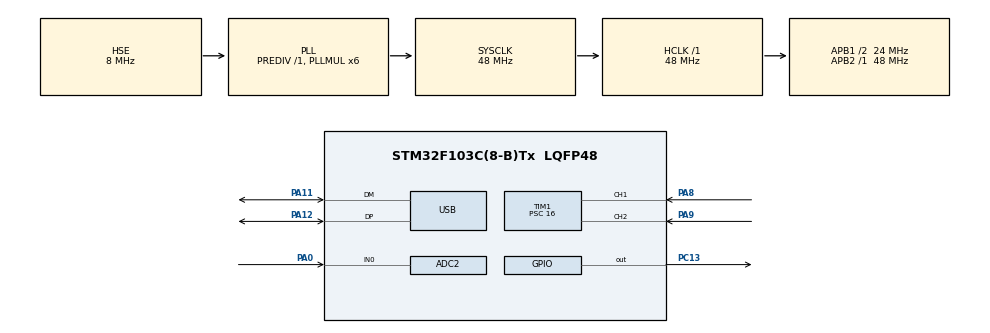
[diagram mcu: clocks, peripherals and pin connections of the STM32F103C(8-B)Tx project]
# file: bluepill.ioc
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ADC2.Channel-2\#ChannelRegularConversion=ADC_CHANNEL_0
ADC2.ContinuousConvMode=ENABLE
ADC2.NbrOfConversion=1
ADC2.NbrOfConversionFlag=1
ADC2.Rank-2\#ChannelRegularConversion=1
ADC2.SamplingTime-2\#ChannelRegularConversion=ADC_SAMPLETIME_1CYCLE_5
Mcu.Family=STM32F1
Mcu.Name=STM32F103C(8-B)Tx
Mcu.Package=LQFP48
NVIC.PriorityGroup=NVIC_PRIORITYGROUP_4
NVIC.USB_LP_CAN1_RX0_IRQn=true\:0\:0\:false\:false\:true\:false\:true
PA0-WKUP.Signal=ADCx_IN0
PA11.Mode=Device
PA11.Signal=USB_DM
PA12.Mode=Device
PA12.Signal=USB_DP
PA8.Signal=S_TIM1_CH1
PA9.Signal=S_TIM1_CH2
PC13-TAMPER-RTC.GPIO_ModeDefaultOutputPP=GPIO_MODE_OUTPUT_PP
PC13-TAMPER-RTC.GPIO_PuPd=GPIO_NOPULL
PC13-TAMPER-RTC.GPIO_Speed=GPIO_SPEED_FREQ_LOW
PC13-TAMPER-RTC.PinState=GPIO_PIN_RESET
PC13-TAMPER-RTC.Signal=GPIO_Output
PC14-OSC32_IN.Mode=LSE-External-Oscillator
PC14-OSC32_IN.Signal=RCC_OSC32_IN
PC15-OSC32_OUT.Mode=LSE-External-Oscillator
PC15-OSC32_OUT.Signal=RCC_OSC32_OUT
PD0-OSC_IN.Mode=HSE-External-Oscillator
PD0-OSC_IN.Signal=RCC_OSC_IN
PD1-OSC_OUT.Mode=HSE-External-Oscillator
PD1-OSC_OUT.Signal=RCC_OSC_OUT
ProjectManager.HeapSize=0x200
ProjectManager.StackSize=0x400
ProjectManager.TargetToolchain=Other Toolchains (GPDSC)
RCC.ADCPresc=RCC_ADCPCLK2_DIV4
RCC.AHBFreq_Value=48000000
RCC.APB1CLKDivider=RCC_HCLK_DIV2
RCC.APB1Freq_Value=24000000
RCC.APB1TimFreq_Value=48000000
RCC.APB2Freq_Value=48000000
RCC.APB2TimFreq_Value=48000000
RCC.HCLKFreq_Value=48000000
RCC.PLLMUL=RCC_PLL_MUL6
RCC.PLLSourceVirtual=RCC_PLLSOURCE_HSE
RCC.RTCClockSelection=RCC_RTCCLKSOURCE_LSE
RCC.SYSCLKFreq_VALUE=48000000
RCC.SYSCLKSource=RCC_SYSCLKSOURCE_PLLCLK
RCC.USBFreq_Value=48000000
SH.ADCx_IN0.0=ADC2_IN0,IN0
SH.S_TIM1_CH1.0=TIM1_CH1,Encoder_Interface
SH.S_TIM1_CH2.0=TIM1_CH2,Encoder_Interface
TIM1.EncoderMode=TIM_ENCODERMODE_TI12
TIM1.Period=65535
TIM1.Prescaler=16
USB_DEVICE.CLASS_NAME_FS=CDC
USB_DEVICE.VirtualMode=Cdc
USB_DEVICE.VirtualModeFS=Cdc_FS
VP_RTC_No_RTC_Output.Mode=RTC_OUT_NO
VP_RTC_VS_RTC_Activate.Mode=RTC_Enabled
VP_RTC_VS_RTC_Calendar.Mode=RTC_Calendar
VP_SYS_VS_ND.Mode=No_Debug
VP_USB_DEVICE_VS_USB_DEVICE_CDC_FS.Mode=CDC_FS
board=custom

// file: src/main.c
/* USER CODE BEGIN Header */
/**
  ******************************************************************************
  * @file           : main.c
  * @brief          : Main program body
  ******************************************************************************
  * @attention
  *
  * <h2><center>&copy; Copyright (c) 2020 STMicroelectronics.
  * All rights reserved.</center></h2>
  *
  * This software component is licensed by ST under Ultimate Liberty license
  * SLA0044, the "License"; You may not use this file except in compliance with
  * the License. You may obtain a copy of the License at:
  *                             www.st.com/SLA0044
  *
  ******************************************************************************
  */
/* USER CODE END Header */

#include "main.h"
#include "adc.h"
#include "tim.h"
#include "rtc.h"
#include "usb_device.h"
#include "usbd_cdc_if.h"
#include "gpio.h"

void SystemClock_Config(void);
/* USER CODE BEGIN PFP */

int16_t get_encoder_value( void )
{
  uint16_t enc_buff = TIM1->CNT;

  if( enc_buff > 32767 ){
    return (int16_t)enc_buff * -1;
  } else {
    return (int16_t)enc_buff;
  }
}

void reset_encoder_count( void )
{
  TIM1->CNT = 0;
}

int16_t count_encoder( void )
{
  int16_t count = get_encoder_value();
  reset_encoder_count();
  return count;
}

/* USER CODE END PFP */

int main(void)
{
  /* USER CODE BEGIN 1 */
  char usr_buf[1000];
  sprintf(usr_buf, "Hello World\n\r");

  int16_t count = 0;

  /* USER CODE END 1 */

  /* MCU Configuration--------------------------------------------------------*/

  /* Reset of all peripherals, Initializes the Flash interface and the Systick. */
  HAL_Init();

  /* Configure the system clock */
  SystemClock_Config();

  /* Initialize all configured peripherals */
  MX_GPIO_Init();
  MX_RTC_Init();
  MX_ADC2_Init();
  MX_USB_DEVICE_Init();
  MX_TIM1_Init();
  /* USER CODE BEGIN 2 */

  uint16_t uhADCxConvertedValue = 0;

  // Turn on LED
  HAL_GPIO_WritePin(GPIOA, GPIO_PIN_8, GPIO_PIN_SET);

  // Start ADC
  if (HAL_ADC_Start(&hadc2) != HAL_OK)
  {
    /* Start Conversation Error */
    Error_Handler();
  }

  // Start Encoder
  HAL_TIM_Encoder_Start( &htim1, TIM_CHANNEL_ALL ); // encoder start

  /* USER CODE END 2 */

  /* Infinite loop */
  /* USER CODE BEGIN WHILE */
  while (1)
  {
    HAL_GPIO_TogglePin(GPIOC, GPIO_PIN_13);

    // ADC
    HAL_StatusTypeDef status = HAL_ADC_PollForConversion(&hadc2, 1000);
    if (status != HAL_OK)
    {
      // sprintf(usr_buf, "Error: %d\n\r", status);
      CDC_Transmit_FS((uint8_t *)usr_buf, strlen(usr_buf));
      Error_Handler();
    }
    else
    {
      /* ADC conversion completed */
      /*##-5- Get the converted value of regular channel  ######################*/

      uhADCxConvertedValue = HAL_ADC_GetValue(&hadc2);
      // sprintf(usr_buf, "Sensor: %d\n\r", uhADCxConvertedValue);
      // CDC_Transmit_FS((uint8_t *)usr_buf, strlen(usr_buf));
    }

    // Encoder
    count += count_encoder();
    sprintf(usr_buf, "Encoder: %d\n\r", count);

    CDC_Transmit_FS((uint8_t *)usr_buf, strlen(usr_buf));
    HAL_Delay(100);

    /* USER CODE END WHILE */

  }
}

void SystemClock_Config(void)
{
  RCC_OscInitTypeDef RCC_OscInitStruct = {0};
  RCC_ClkInitTypeDef RCC_ClkInitStruct = {0};
  RCC_PeriphCLKInitTypeDef PeriphClkInit = {0};

  /** Initializes the CPU, AHB and APB busses clocks
  */
  RCC_OscInitStruct.OscillatorType = RCC_OSCILLATORTYPE_HSE|RCC_OSCILLATORTYPE_LSE;
  RCC_OscInitStruct.HSEState = RCC_HSE_ON;
  RCC_OscInitStruct.HSEPredivValue = RCC_HSE_PREDIV_DIV1;
  RCC_OscInitStruct.LSEState = RCC_LSE_ON;
  RCC_OscInitStruct.HSIState = RCC_HSI_ON;
  RCC_OscInitStruct.PLL.PLLState = RCC_PLL_ON;
  RCC_OscInitStruct.PLL.PLLSource = RCC_PLLSOURCE_HSE;
  RCC_OscInitStruct.PLL.PLLMUL = RCC_PLL_MUL6;
  if (HAL_RCC_OscConfig(&RCC_OscInitStruct) != HAL_OK)
  {
    Error_Handler();
  }
  /** Initializes the CPU, AHB and APB busses clocks
  */
  RCC_ClkInitStruct.ClockType = RCC_CLOCKTYPE_HCLK|RCC_CLOCKTYPE_SYSCLK
                              |RCC_CLOCKTYPE_PCLK1|RCC_CLOCKTYPE_PCLK2;
  RCC_ClkInitStruct.SYSCLKSource = RCC_SYSCLKSOURCE_PLLCLK;
  RCC_ClkInitStruct.AHBCLKDivider = RCC_SYSCLK_DIV1;
  RCC_ClkInitStruct.APB1CLKDivider = RCC_HCLK_DIV2;
  RCC_ClkInitStruct.APB2CLKDivider = RCC_HCLK_DIV1;

  if (HAL_RCC_ClockConfig(&RCC_ClkInitStruct, FLASH_LATENCY_1) != HAL_OK)
  {
    Error_Handler();
  }
  PeriphClkInit.PeriphClockSelection = RCC_PERIPHCLK_RTC|RCC_PERIPHCLK_ADC
                              |RCC_PERIPHCLK_USB;
  PeriphClkInit.RTCClockSelection = RCC_RTCCLKSOURCE_LSE;
  PeriphClkInit.AdcClockSelection = RCC_ADCPCLK2_DIV4;
  PeriphClkInit.UsbClockSelection = RCC_USBCLKSOURCE_PLL;
  if (HAL_RCCEx_PeriphCLKConfig(&PeriphClkInit) != HAL_OK)
  {
    Error_Handler();
  }
}

void Error_Handler(void)
{
}

/************************ (C) COPYRIGHT STMicroelectronics *****END OF FILE****/
